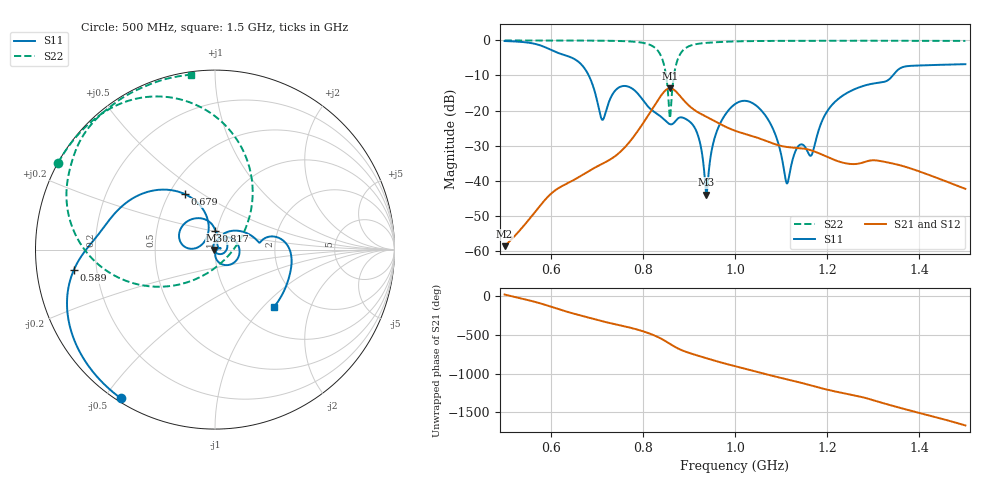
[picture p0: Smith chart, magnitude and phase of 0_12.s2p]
! TOUCHSTONE file generated by CST MICROWAVE STUDIO
! Date and time: Sat Oct 24 11:12:32 2020
! Project name: Scenario_1_Circular_Tissue_in_Line.cst
! Parameters = {L_HA=400; MT=2.54; Rad_Dielectric=30; Rad_Lower=7.3; Rad_Upper=30; a_HA=580; a_WG=246; b_HA=500; b_WG=121; c_HA=0; c_WG=187; d_feed=85; dx1=363.52; h_feed=15; h_lower=18; h_upper=40}
! Header version: 2018
! Port assignment regex: !\s*Touchstone port\s*([0-9]+)\s*=\s*(CST MWS port|CST DS port)\s*([0-9]+|Zmin|Zmax)\s*\(\"(.*)\"\)(\s*mode\s*([0-9]+))?.*
! Touchstone port assignment:
! Touchstone port 1 = CST MWS port 1 ("")
! Touchstone port 2 = CST MWS port 2 ("")
# GHz S DB R 50
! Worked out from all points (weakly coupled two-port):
!   1003 points, 500 MHz to 1.5 GHz, reference 50 ohm
!   highest |S21| = -13.63 dB at 859 MHz (marker M1); lowest = -58.7 dB at 500 MHz (marker M2)
!   lowest |S11| = -44.0 dB at 938 MHz (marker M3), VSWR 1.01, Z = 49.4 - j0.261 ohm
!   |S11| at or under -10 dB: 682.6 MHz to 1.342 GHz (659.8 MHz wide, 65.2 % of centre)
!   |S22| runs from -22.2 to 0.0 dB; largest |S21 - S12| = 2.1e-05
!   S11 on the Smith chart (normalised r, x): 500 MHz: 0.01, -0.55; 589 MHz: 0.12, -0.07; 679 MHz: 0.60, +0.42; 817 MHz: 0.98, +0.21; 1.5 GHz: 1.43, -1.16
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0.5  -0.17 -122.3  -58.68 23.4  -58.68 23.4  -0.01 151.1
0.589  -2.00 -171.9  -45.27 -111.4  -45.27 -111.4  -0.02 144.9
0.667  -6.92 132.2  -38.51 109.5  -38.51 109.5  -0.04 138.3
0.679  -9.10 118.4  -37.55 90.3  -37.55 90.3  -0.05 137.1
0.712  -22.65 141.5  -35.19 38.1  -35.19 38.1  -0.08 133.3
0.756  -13.03 149.9  -31.16 -21.7  -31.16 -21.7  -0.19 126.3
0.817  -19.60 88.7  -20.26 -126.2  -20.26 -126.2  -1.34 102.7
0.834  -21.22 79.9  -16.77 -169.6  -16.77 -169.6  -3.18 85.1
0.848  -22.78 71.3  -14.38 145.7  -14.38 145.7  -8.19 57.4
0.859  -23.90 69.4  -13.63 105.2  -13.63 105.2  -22.20 -48.3
0.877  -22.17 58.6  -15.29 44.3  -15.29 44.3  -4.97 -164.2
0.911  -24.55 -10.5  -19.76 -30.7  -19.76 -30.7  -1.19 161.4
0.938  -43.96 -155.4  -21.78 -79.6  -21.78 -79.6  -0.70 151.5
0.961  -25.76 82.4  -23.37 -120.1  -23.37 -120.1  -0.49 146.4
1  -18.16 21.3  -25.76 177.9  -25.76 177.9  -0.28 140.3
1.068  -21.79 -69.7  -28.69 72.3  -28.69 72.3  -0.15 132.6
1.112  -40.70 -39.2  -30.38 10.1  -30.38 10.1  -0.12 128.6
1.138  -30.07 16.6  -30.68 -28.1  -30.68 -28.1  -0.11 126.5
1.167  -32.48 48.3  -31.41 -75.4  -31.41 -75.4  -0.10 124.2
1.217  -17.51 50.5  -34.16 -148.6  -34.16 -148.6  -0.08 120.3
1.334  -11.15 12.3  -34.87 38.9  -34.87 38.9  -0.09 111.5
1.5  -6.78 -44.3  -42.35 131.7  -42.36 131.6  -0.14 97.9
